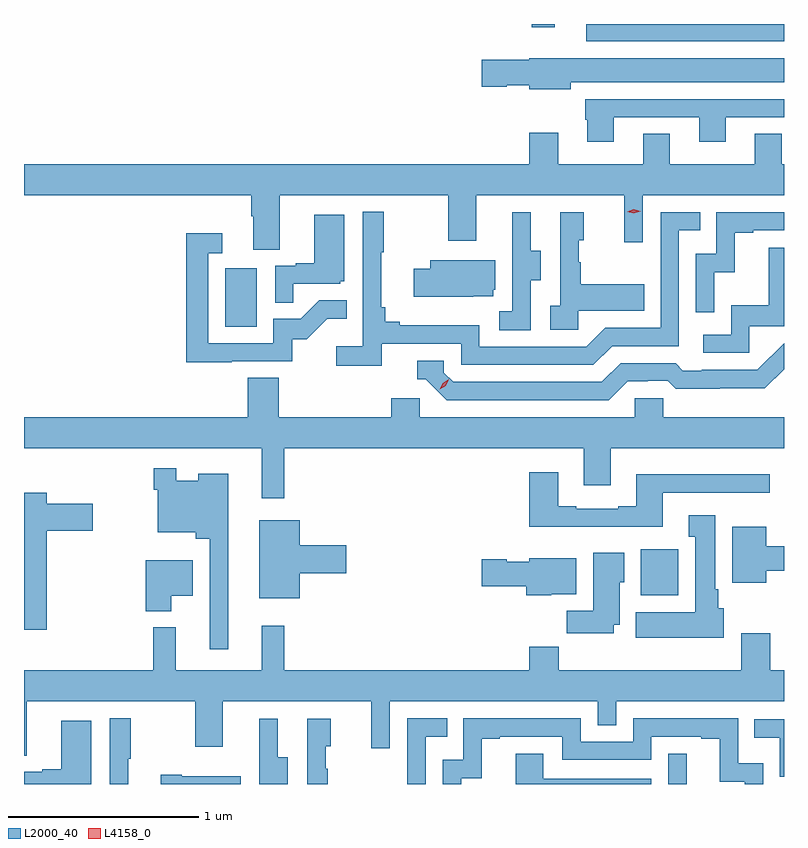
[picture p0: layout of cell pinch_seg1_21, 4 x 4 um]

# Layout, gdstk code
import gdstk
lib = gdstk.Library(unit=1e-6, precision=1e-09)
def R(c, l, rs):  # rectangles x0, y0, x1, y1
    for r in rs: c.add(gdstk.rectangle(r[:2], r[2:], *l))
def P(c, l, *ps):  # polygons
    for p in ps: c.add(gdstk.Polygon(p, *l))
L2000_40 = (2000, 40)
L4158_0 = (4158, 0)

pinch_seg1_21 = lib.new_cell('pinch_seg1_21')
R(pinch_seg1_21, L2000_40, [(1132.464,571.277,1132.561,571.435), (1132.319,572.27,1132.516,572.512), (1130.132,573.684,1130.296,573.991), (1132.031,575.186,1133.072,575.277), (1131.744,575.259,1131.865,575.277)])
P(pinch_seg1_21, L2000_40, [(1131.949,574.97),(1133.072,574.97),(1133.072,575.098),(1131.732,575.098),(1131.732,575.09),(1131.48,575.09),(1131.48,574.948),(1131.612,574.948),(1131.612,574.955),(1131.732,574.955),(1131.732,574.934),(1131.949,574.934)],
  [(1132.177,574.785),(1132.625,574.785),(1132.625,574.656),(1132.765,574.656),(1132.765,574.785),(1133.072,574.785),(1133.072,574.881),(1132.025,574.881),(1132.025,574.773),(1132.037,574.773),(1132.037,574.656),(1132.177,574.656)],
  [(1130.419,574.376),(1131.304,574.376),(1131.304,574.137),(1131.451,574.137),(1131.451,574.376),(1132.232,574.376),(1132.232,574.128),(1132.329,574.128),(1132.329,574.376),(1133.072,574.376),(1133.072,574.54),(1133.059,574.54),(1133.059,574.7),(1132.919,574.7),(1132.919,574.54),(1132.471,574.54),(1132.471,574.7),(1132.331,574.7),(1132.331,574.54),(1131.883,574.54),(1131.883,574.705),(1131.731,574.705),(1131.731,574.54),(1129.072,574.54),(1129.072,574.376),(1130.267,574.376),(1130.267,574.264),(1130.279,574.264),(1130.279,574.09),(1130.419,574.09)],
  [(1130.954,573.594),(1131.372,573.594),(1131.372,573.483),(1132.069,573.483),(1132.168,573.582),(1132.518,573.582),(1132.518,574.191),(1132.631,574.191),(1132.631,574.287),(1132.422,574.287),(1132.422,573.678),(1132.131,573.678),(1132.032,573.579),(1131.468,573.579),(1131.468,573.691),(1131.049,573.691),(1131.049,573.71),(1130.972,573.71),(1130.972,573.787),(1130.953,573.787),(1130.953,574.075),(1130.965,574.075),(1130.965,574.288),(1130.856,574.288),(1130.856,573.58),(1130.715,573.58),(1130.715,573.478),(1130.954,573.478)],
  [(1132.704,573.971),(1132.814,573.971),(1132.814,574.179),(1132.909,574.179),(1132.909,574.191),(1133.072,574.191),(1133.072,574.287),(1132.716,574.287),(1132.716,574.068),(1132.608,574.068),(1132.608,573.759),(1132.704,573.759)],
  [(1131.99,573.767),(1132.337,573.767),(1132.337,573.907),(1132.003,573.907),(1132.003,574.022),(1131.993,574.022),(1131.993,574.14),(1132.018,574.14),(1132.018,574.285),(1131.894,574.285),(1131.894,573.794),(1131.843,573.794),(1131.843,573.669),(1131.99,573.669)],
  [(1131.738,573.928),(1131.793,573.928),(1131.793,574.083),(1131.739,574.083),(1131.739,574.285),(1131.641,574.285),(1131.641,574.071),(1131.642,574.071),(1131.642,573.765),(1131.573,573.765),(1131.573,573.664),(1131.738,573.664)],
  [(1130.489,573.909),(1130.736,573.909),(1130.736,573.924),(1130.758,573.924),(1130.758,574.273),(1130.6,574.273),(1130.6,574.018),(1130.501,574.018),(1130.501,574.005),(1130.394,574.005),(1130.394,573.811),(1130.489,573.811)],
  [(1130.165,573.501),(1130.484,573.501),(1130.484,573.618),(1130.56,573.618),(1130.667,573.725),(1130.771,573.725),(1130.771,573.824),(1130.627,573.824),(1130.529,573.726),(1130.385,573.726),(1130.385,573.597),(1130.043,573.597),(1130.043,574.071),(1130.116,574.071),(1130.116,574.177),(1129.927,574.177),(1129.927,573.496),(1130.165,573.496)],
  [(1132.89,573.687),(1133.072,573.687),(1133.072,574.099),(1132.993,574.099),(1132.993,573.796),(1132.794,573.796),(1132.794,573.642),(1132.647,573.642),(1132.647,573.546),(1132.89,573.546)],
  [(1131.437,573.843),(1131.541,573.843),(1131.541,573.879),(1131.553,573.879),(1131.553,574.033),(1131.209,574.033),(1131.209,573.99),(1131.123,573.99),(1131.123,573.842),(1131.437,573.842)],
  [(1132.249,573.396),(1132.356,573.396),(1132.356,573.399),(1132.459,573.399),(1132.501,573.357),(1132.734,573.357),(1132.734,573.359),(1132.97,573.359),(1133.072,573.461),(1133.072,573.596),(1132.932,573.456),(1132.639,573.456),(1132.639,573.453),(1132.54,573.453),(1132.501,573.492),(1132.212,573.492),(1132.113,573.393),(1131.33,573.393),(1131.282,573.441),(1131.282,573.504),(1131.143,573.504),(1131.143,573.408),(1131.186,573.408),(1131.297,573.297),(1132.15,573.297)],
  [(1130.441,573.044),(1132.019,573.044),(1132.019,572.85),(1132.159,572.85),(1132.159,573.044),(1133.072,573.044),(1133.072,573.208),(1132.437,573.208),(1132.437,573.306),(1132.287,573.306),(1132.287,573.208),(1131.156,573.208),(1131.156,573.306),(1131.005,573.306),(1131.005,573.208),(1130.414,573.208),(1130.414,573.416),(1130.249,573.416),(1130.249,573.208),(1129.072,573.208),(1129.072,573.044),(1130.324,573.044),(1130.324,572.781),(1130.441,572.781)],
  [(1130.146,572.911),(1129.988,572.911),(1129.988,572.872),(1129.872,572.872),(1129.872,572.938),(1129.756,572.938),(1129.756,572.825),(1129.776,572.825),(1129.776,572.603),(1129.976,572.603),(1129.976,572.567),(1130.049,572.567),(1130.049,571.986),(1130.146,571.986)],
  [(1132.435,572.811),(1132.996,572.811),(1132.996,572.908),(1132.295,572.908),(1132.295,572.74),(1132.199,572.74),(1132.199,572.727),(1131.979,572.727),(1131.979,572.74),(1131.883,572.74),(1131.883,572.917),(1131.731,572.917),(1131.731,572.63),(1132.435,572.63)],
  [(1129.192,572.609),(1129.435,572.609),(1129.435,572.751),(1129.192,572.751),(1129.192,572.809),(1129.072,572.809),(1129.072,572.088),(1129.192,572.088)],
  [(1132.756,572.202),(1132.726,572.202),(1132.726,572.302),(1132.711,572.302),(1132.711,572.692),(1132.571,572.692),(1132.571,572.579),(1132.604,572.579),(1132.604,572.182),(1132.292,572.182),(1132.292,572.048),(1132.756,572.048)],
  [(1130.524,572.387),(1130.767,572.387),(1130.767,572.534),(1130.524,572.534),(1130.524,572.665),(1130.309,572.665),(1130.309,572.255),(1130.524,572.255)],
  [(1132.978,572.4),(1133.072,572.4),(1133.072,572.528),(1132.978,572.528),(1132.978,572.632),(1132.799,572.632),(1132.799,572.336),(1132.978,572.336)],
  [(1132.177,572.114),(1132.207,572.114),(1132.207,572.34),(1132.231,572.34),(1132.231,572.494),(1132.067,572.494),(1132.067,572.188),(1131.928,572.188),(1131.928,572.07),(1132.177,572.07)],
  [(1131.846,572.276),(1131.979,572.276),(1131.979,572.464),(1131.732,572.464),(1131.732,572.446),(1131.612,572.446),(1131.612,572.459),(1131.48,572.459),(1131.48,572.317),(1131.716,572.317),(1131.716,572.27),(1131.846,572.27)],
  [(1129.846,572.267),(1129.96,572.267),(1129.96,572.455),(1129.712,572.455),(1129.712,572.186),(1129.846,572.186)],
  [(1129.087,571.712),(1129.972,571.712),(1129.972,571.473),(1130.119,571.473),(1130.119,571.712),(1130.9,571.712),(1130.9,571.464),(1130.997,571.464),(1130.997,571.712),(1132.092,571.712),(1132.092,571.585),(1132.188,571.585),(1132.188,571.712),(1133.072,571.712),(1133.072,571.876),(1133,571.876),(1133,572.071),(1132.847,572.071),(1132.847,571.876),(1131.887,571.876),(1131.887,572),(1131.731,572),(1131.731,571.876),(1130.441,571.876),(1130.441,572.11),(1130.324,572.11),(1130.324,571.876),(1129.871,571.876),(1129.871,572.101),(1129.753,572.101),(1129.753,571.876),(1129.072,571.876),(1129.072,571.426),(1129.087,571.426)],
  [(1129.621,571.411),(1129.633,571.411),(1129.633,571.624),(1129.524,571.624),(1129.524,571.277),(1129.621,571.277)],
  [(1131.186,571.527),(1131.299,571.527),(1131.299,571.623),(1131.09,571.623),(1131.09,571.277),(1131.186,571.277)],
  [(1131.372,571.307),(1131.482,571.307),(1131.482,571.515),(1131.577,571.515),(1131.577,571.527),(1131.906,571.527),(1131.906,571.404),(1132.374,571.404),(1132.374,571.527),(1132.637,571.527),(1132.637,571.515),(1132.733,571.515),(1132.733,571.289),(1132.866,571.289),(1132.866,571.277),(1132.962,571.277),(1132.962,571.387),(1132.83,571.387),(1132.83,571.623),(1132.278,571.623),(1132.278,571.5),(1132.002,571.5),(1132.002,571.623),(1131.384,571.623),(1131.384,571.404),(1131.276,571.404),(1131.276,571.277),(1131.372,571.277)],
  [(1130.461,571.419),(1130.407,571.419),(1130.407,571.621),(1130.309,571.621),(1130.309,571.407),(1130.31,571.407),(1130.31,571.277),(1130.461,571.277)],
  [(1130.671,571.358),(1130.661,571.358),(1130.661,571.476),(1130.686,571.476),(1130.686,571.621),(1130.562,571.621),(1130.562,571.277),(1130.671,571.277)],
  [(1133.072,571.617),(1132.915,571.617),(1132.915,571.52),(1133.05,571.52),(1133.05,571.314),(1133.072,571.314)],
  [(1129.426,571.609),(1129.268,571.609),(1129.268,571.354),(1129.169,571.354),(1129.169,571.341),(1129.072,571.341),(1129.072,571.277),(1129.426,571.277)],
  [(1132.374,571.305),(1131.805,571.305),(1131.805,571.435),(1131.661,571.435),(1131.661,571.277),(1132.374,571.277)],
  [(1130.213,571.318),(1129.903,571.318),(1129.903,571.326),(1129.791,571.326),(1129.791,571.277),(1130.213,571.277)])
P(pinch_seg1_21, L4158_0, [(1131.26,573.354),(1131.26,573.354),(1131.276,573.386),(1131.307,573.406),(1131.307,573.406),(1131.307,573.406),(1131.291,573.373),(1131.261,573.354)],
  [(1132.282,574.281),(1132.246,574.29),(1132.246,574.29),(1132.246,574.29),(1132.282,574.301),(1132.318,574.291),(1132.318,574.291),(1132.318,574.291)])

lib.write_gds('pinch_seg1_21.gds')
